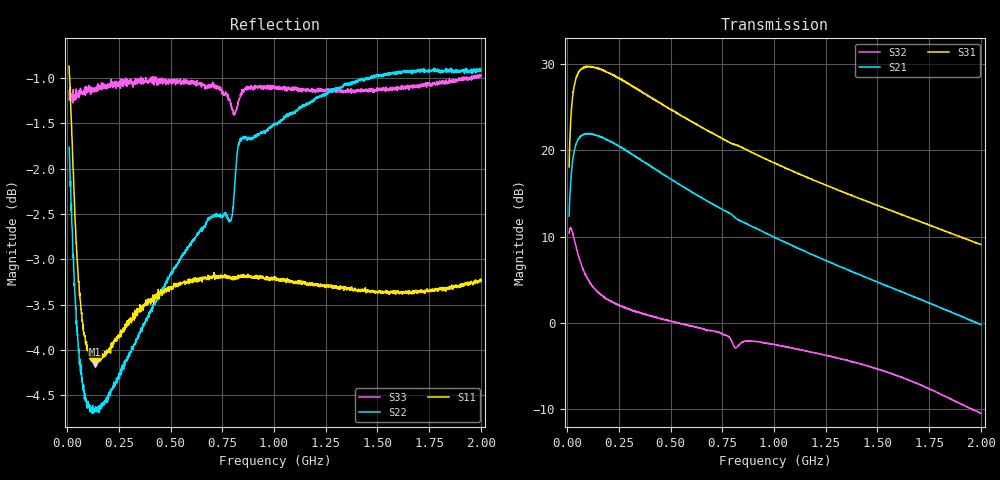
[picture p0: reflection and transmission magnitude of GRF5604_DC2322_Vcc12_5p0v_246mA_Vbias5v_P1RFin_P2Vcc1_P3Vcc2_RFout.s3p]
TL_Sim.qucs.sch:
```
<Qucs Schematic 25.2.0>
<Properties>
  <View=-150,-302,2955,1252,0.942692,232,1>
  <Grid=10,10,1>
  <DataSet=TL_Sim.dat>
  <DataDisplay=TL_Sim.dpl>
  <OpenDisplay=0>
  <Script=TL_Sim.m>
  <RunScript=0>
  <showFrame=0>
  <FrameText0=Title>
  <FrameText1=Drawn By:>
  <FrameText2=Date:>
  <FrameText3=Revision:>
</Properties>
<Symbol>
</Symbol>
<Components>
  <GND * 1 1180 810 0 0 0 0>
  <GND * 1 850 770 0 0 0 0>
  <Pac P1 1 850 720 18 -26 0 1 "1" 1 "50 Ohm" 1 "0 dBm" 1 "440 MHz" 0 "26.85" 0 "true" 0>
  <.SP SP1 1 599 268 0 50 0 0 "lin" 1 "400 MHz" 1 "500 MHz" 1 "500" 1 "no" 0 "1" 0 "2" 0 "no" 0 "no" 0>
  <SUBST Subst1 1 969 328 -30 24 0 0 "4.4" 1 "0.2104" 1 "35 um" 1 "0.02" 1 "1.68e-8" 1 "0.15e-6" 1>
  <GND * 1 1560 580 0 0 0 0>
  <C C1 1 1610 750 17 -26 0 1 "33pF" 1 "" 0 "neutral" 0>
  <GND * 1 1610 790 0 0 0 0>
  <L L1 1 1610 640 10 -26 0 1 "23nH" 1 "" 0>
  <L L2 1 1760 670 -26 10 0 0 "2.2nH" 1 "" 0>
  <C C2 1 1890 700 17 -26 0 1 "27pF" 1 "" 0 "neutral" 0>
  <C C4 1 2080 670 -26 -49 1 0 "100pF" 1 "" 0 "neutral" 0>
  <GND * 1 1890 730 0 0 0 0>
  <L L3 1 1440 410 10 -26 0 1 "20nH" 1 "" 0>
  <C C5 1 1370 400 17 -26 0 1 "33pF" 1 "" 0 "neutral" 0>
  <GND * 1 1370 430 0 0 0 0>
  <C C6 1 1670 400 17 -26 0 1 "1nF" 1 "" 0 "neutral" 0>
  <C C7 1 1750 400 17 -26 0 1 "10uF" 1 "" 0 "neutral" 0>
  <GND * 1 1750 440 0 0 0 0>
  <Pac P2 1 2270 720 18 -26 0 1 "2" 1 "50 Ohm" 1 "0 dBm" 1 "1 MHz" 0 "26.85" 0 "true" 0>
  <GND * 1 2270 760 0 0 0 0>
  <CAPQ CQ1 1 1031 670 -26 -65 1 0 "4.7pF" 1 "100" 1 "100 MHz" 0 "Linear" 0 "26.85" 0>
  <INDQ LQ1 1 1180 780 17 -26 0 1 "10nH" 1 "100" 1 "100 MHz" 0 "Linear" 0 "26.85" 0>
  <CAPQ CQ2 1 1291 670 -26 -65 1 0 "56pF" 1 "100" 1 "100 MHz" 0 "Linear" 0 "26.85" 0>
  <Eqn Eqn1 1 1190 230 -23 14 0 0 "TL_Width=0.3421" 1 "yes" 0>
  <MLIN MS2 1 1110 670 -26 15 0 0 "Subst1" 1 "TL_Width" 1 "0.5 mm" 1 "Hammerstad" 0 "Kirschning" 0 "26.85" 0 "DC" 0>
  <MLIN MS1 1 970 670 -26 15 0 0 "Subst1" 1 "TL_Width" 1 "15 mm" 1 "Hammerstad" 0 "Kirschning" 0 "26.85" 0 "DC" 0>
  <MLIN MS3 1 1230 670 -26 15 0 0 "Subst1" 1 "TL_Width" 1 "0.5 mm" 1 "Hammerstad" 0 "Kirschning" 0 "26.85" 0 "DC" 0>
  <C C8 1 1890 640 17 -26 0 1 "1.8pF" 1 "" 0 "neutral" 0>
  <GND * 1 1890 610 0 -16 0 2>
  <MLIN MS4 1 1350 670 -26 15 0 0 "Subst1" 1 "TL_Width" 1 "2 mm" 1 "Hammerstad" 0 "Kirschning" 0 "26.85" 0 "DC" 0>
  <MLIN MS5 1 1530 670 -26 15 0 0 "Subst1" 1 "TL_Width" 1 "2 mm" 1 "Hammerstad" 0 "Kirschning" 0 "26.85" 0 "DC" 0>
  <SPfile X1 1 1470 580 -1141 -26 0 1 "/Users/fredericdruppel/Documents/Projects/2026-02-19_Linear_RF_PA/sim/GRF5604_S3P/GRF5604_DC2322_Vcc12_5p0v_246mA_Vbias5v_P1RFin_P2Vcc1_P3Vcc2_RFout.s3p" 0 "rectangular" 0 "linear" 0 "open" 0 "3" 0>
  <MLIN MS7 1 1830 670 -26 15 0 0 "Subst1" 1 "TL_Width" 1 "0.5 mm" 1 "Hammerstad" 0 "Kirschning" 0 "26.85" 0 "DC" 0>
  <MLIN MS6 1 1690 670 -26 15 0 0 "Subst1" 1 "TL_Width" 1 "0.5 mm" 1 "Hammerstad" 0 "Kirschning" 0 "26.85" 0 "DC" 0>
  <MLIN MS8 1 1990 670 -26 15 0 0 "Subst1" 1 "TL_Width" 1 "0.5 mm" 1 "Hammerstad" 0 "Kirschning" 0 "26.85" 0 "DC" 0>
  <MLIN MS9 1 2140 670 -26 15 0 0 "Subst1" 1 "TL_Width" 1 "0.5 mm" 1 "Hammerstad" 0 "Kirschning" 0 "26.85" 0 "DC" 0>
</Components>
<Wires>
  <850 670 850 690 "" 0 0 0 "">
  <850 750 850 770 "" 0 0 0 "">
  <850 670 940 670 "" 0 0 0 "">
  <1530 580 1560 580 "" 0 0 0 "">
  <1440 610 1440 670 "" 0 0 0 "">
  <1560 670 1610 670 "" 0 0 0 "">
  <1370 370 1440 370 "" 0 0 0 "">
  <1670 430 1750 430 "" 0 0 0 "">
  <1750 430 1750 440 "" 0 0 0 "">
  <1670 370 1750 370 "" 0 0 0 "">
  <1440 370 1440 380 "" 0 0 0 "">
  <1440 370 1610 370 "" 0 0 0 "">
  <1380 670 1440 670 "" 0 0 0 "">
  <1180 670 1180 750 "" 0 0 0 "">
  <1140 670 1180 670 "" 0 0 0 "">
  <1061 670 1080 670 "" 0 0 0 "">
  <1180 670 1200 670 "" 0 0 0 "">
  <2270 750 2270 760 "" 0 0 0 "">
  <1000 670 1001 670 "" 0 0 0 "">
  <1260 670 1261 670 "" 0 0 0 "">
  <1320 670 1321 670 "" 0 0 0 "">
  <1440 440 1440 550 "" 0 0 0 "">
  <1500 610 1500 670 "" 0 0 0 "">
  <1610 670 1660 670 "" 0 0 0 "">
  <1720 670 1730 670 "" 0 0 0 "">
  <1610 780 1610 790 "" 0 0 0 "">
  <1610 670 1610 720 "" 0 0 0 "">
  <1860 670 1890 670 "" 0 0 0 "">
  <1790 670 1800 670 "" 0 0 0 "">
  <2020 670 2050 670 "" 0 0 0 "">
  <1890 670 1960 670 "" 0 0 0 "">
  <2270 670 2270 690 "" 0 0 0 "">
  <1610 370 1610 610 "" 0 0 0 "">
  <1610 370 1670 370 "" 0 0 0 "">
  <2170 670 2270 670 "" 0 0 0 "">
</Wires>
<Diagrams>
  <Smith 980 1110 200 200 3 #c0c0c0 1 00 1 0 1 1 1 0 4 52.1369 1 0 1 1 315 0 225 1 0 0 "" "" "">
	<"S[2,1]" #ff0000 0 3 0 0 0>
	  <Mkr 4.39679e+08 208 -18 3 0 0>
  </Smith>
  <Rect 1420 1110 240 160 3 #c0c0c0 1 01 1 3e+08 5e+07 5e+08 1 0.1 1 100 1 -1 1 1 315 0 225 1 1 0 "" "" "">
	<"S[1,1]" #0000ff 0 3 0 0 0>
	  <Mkr 4.39679e+08 -4 -232 3 0 0>
	<"S[2,1]" #ff0000 0 3 0 0 0>
	  <Mkr 4.4008e+08 141 -232 3 0 0>
	<"S[2,2]" #ff00ff 0 3 0 0 0>
	<"S[1,1]" #0000ff 0 3 0 0 0>
  </Rect>
  <Smith 690 1100 200 200 3 #c0c0c0 1 00 1 0 1 1 1 0 4 1 1 0 1 1 315 0 225 1 0 0 "" "" "">
	<"S[1,1]" #0000ff 1 3 0 0 0>
	  <Mkr 4.4008e+08 120 -250 3 0 0>
	<"S[2,2]" #ff0000 1 3 0 0 0>
	  <Mkr 4.4008e+08 -149 -263 3 0 0>
  </Smith>
</Diagrams>
<Paintings>
</Paintings>
```
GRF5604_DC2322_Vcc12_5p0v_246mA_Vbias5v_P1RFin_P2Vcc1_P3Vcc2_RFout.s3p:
!Keysight Technologies,N5244B,MY57181157,A.18.40.03
!Date: Wednesday, September 10, 2025 10:25:03
!Correction: S11(C  3-Port  )
!S12(C  3-Port  )
!S13(C  3-Port  )
!S21(C  3-Port  )
!S22(C  3-Port  )
!S23(C  3-Port  )
!S31(C  3-Port  )
!S32(C  3-Port  )
!S33(C  3-Port  )
!S3P File: Measurements: <S11,S12,S13>,
!<S21,S22,S23>,
!<S31,S32,S33>:
# Hz S  RI  R 50
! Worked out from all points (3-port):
!   1991 points, 10 MHz to 2 GHz, reference 50 ohm
!   strongest paths, dB at 10 MHz, 507 MHz, 1.005 GHz, 1.503 GHz, 2 GHz:
!     S31: 18.1, 24.6, 18.5, 13.6, 9.1
!     S21: 12.4, 16.6, 9.9, 4.7, -0.2
!     S32: 10.4, 0.1, -2.5, -5.4, -10.5
!   lowest |S11| = -4.2 dB at 136 MHz (marker M1), VSWR 4.26, Z = 41 - j71 ohm
!   |S11| at or under -10 dB: nowhere
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1e7  0.8895 -0.1651  0.0406 -0.0123  -0.000122 0.000313
     -1.768 -3.759  0.713 -0.3973  0.00342 -0.00887
     -1.507 7.875  -3.061 -1.241  -0.2526 -0.8291
6e7  0.5397 -0.4071  0.0144 -0.0159  0.000119 -6.62e-05
     -11.45 -2.769  -0.1988 -0.5872  0.00329 0.00267
     27.04 9.821  -1.96 1.283  -0.8472 -0.2257
1.36e8  0.3172 -0.5327  0.00817 -0.00747  0.000118 1.81e-05
        -11.64 3.813  -0.4588 -0.3609  0.00623 0.0044
        28.99 -8.482  -1.213 0.9907  -0.8732 -0.1127
6.61e8  -0.4735 -0.5039  0.00936 -0.000536  -0.000452 0.0011
        0.8456 5.155  -0.7306 -0.1015  0.0126 0.00607
        -3.749 -12.86  -0.3323 0.8607  -0.8826 -0.0379
2e9  -0.6879 0.0486  0.00804 0.0023  0.000452 0.00466
     0.9625 0.1619  -0.8068 0.3984  0.00989 0.00987
     -2.664 0.9908  0.2326 0.1882  -0.8823 0.1393
